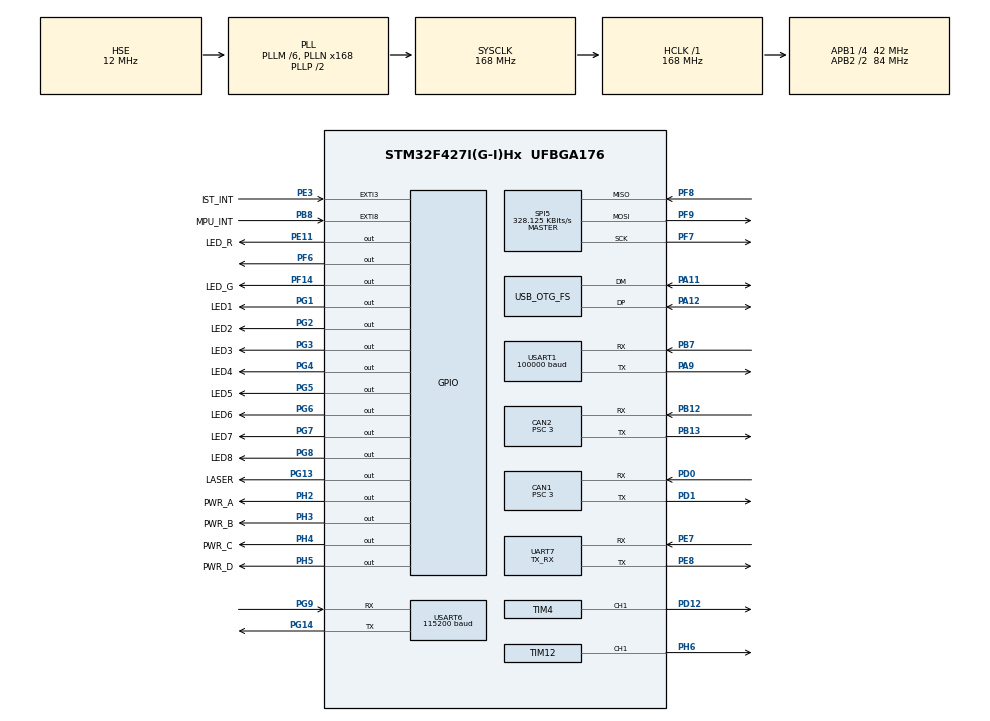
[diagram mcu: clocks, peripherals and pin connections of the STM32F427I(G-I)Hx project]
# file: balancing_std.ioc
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CAN1.ABOM=DISABLE
CAN1.BS1=CAN_BS1_9TQ
CAN1.BS2=CAN_BS2_4TQ
CAN1.CalculateBaudRate=1000000
CAN1.CalculateTimeBit=1000
CAN1.CalculateTimeQuantum=71.42857142857143
CAN1.NART=DISABLE
CAN1.Prescaler=3
CAN2.BS1=CAN_BS1_9TQ
CAN2.BS2=CAN_BS2_4TQ
CAN2.CalculateBaudRate=1000000
CAN2.CalculateTimeBit=1000
CAN2.CalculateTimeQuantum=71.42857142857143
CAN2.Prescaler=3
Dma.Request0=USART1_RX
Dma.Request1=USART6_RX
Dma.Request2=UART7_RX
Dma.Request3=SPI5_RX
Dma.Request4=SPI5_TX
Dma.SPI5_RX.3.Direction=DMA_PERIPH_TO_MEMORY
Dma.SPI5_RX.3.FIFOMode=DMA_FIFOMODE_ENABLE
Dma.SPI5_RX.3.FIFOThreshold=DMA_FIFO_THRESHOLD_FULL
Dma.SPI5_RX.3.Instance=DMA2_Stream3
Dma.SPI5_RX.3.MemBurst=DMA_MBURST_SINGLE
Dma.SPI5_RX.3.MemDataAlignment=DMA_MDATAALIGN_BYTE
Dma.SPI5_RX.3.MemInc=DMA_MINC_ENABLE
Dma.SPI5_RX.3.Mode=DMA_NORMAL
Dma.SPI5_RX.3.PeriphBurst=DMA_PBURST_SINGLE
Dma.SPI5_RX.3.PeriphDataAlignment=DMA_PDATAALIGN_BYTE
Dma.SPI5_RX.3.PeriphInc=DMA_PINC_DISABLE
Dma.SPI5_RX.3.Priority=DMA_PRIORITY_VERY_HIGH
Dma.SPI5_TX.4.Direction=DMA_MEMORY_TO_PERIPH
Dma.SPI5_TX.4.FIFOMode=DMA_FIFOMODE_DISABLE
Dma.SPI5_TX.4.Instance=DMA2_Stream4
Dma.SPI5_TX.4.MemDataAlignment=DMA_MDATAALIGN_BYTE
Dma.SPI5_TX.4.MemInc=DMA_MINC_ENABLE
Dma.SPI5_TX.4.Mode=DMA_NORMAL
Dma.SPI5_TX.4.PeriphDataAlignment=DMA_PDATAALIGN_BYTE
Dma.SPI5_TX.4.PeriphInc=DMA_PINC_DISABLE
Dma.SPI5_TX.4.Priority=DMA_PRIORITY_VERY_HIGH
Dma.UART7_RX.2.Direction=DMA_PERIPH_TO_MEMORY
Dma.UART7_RX.2.FIFOMode=DMA_FIFOMODE_DISABLE
Dma.UART7_RX.2.Instance=DMA1_Stream3
Dma.UART7_RX.2.MemDataAlignment=DMA_MDATAALIGN_BYTE
Dma.UART7_RX.2.MemInc=DMA_MINC_ENABLE
Dma.UART7_RX.2.Mode=DMA_CIRCULAR
Dma.UART7_RX.2.PeriphDataAlignment=DMA_PDATAALIGN_BYTE
Dma.UART7_RX.2.PeriphInc=DMA_PINC_DISABLE
Dma.UART7_RX.2.Priority=DMA_PRIORITY_LOW
Dma.USART1_RX.0.Direction=DMA_PERIPH_TO_MEMORY
Dma.USART1_RX.0.FIFOMode=DMA_FIFOMODE_DISABLE
Dma.USART1_RX.0.Instance=DMA2_Stream2
Dma.USART1_RX.0.MemDataAlignment=DMA_MDATAALIGN_BYTE
Dma.USART1_RX.0.MemInc=DMA_MINC_ENABLE
Dma.USART1_RX.0.Mode=DMA_CIRCULAR
Dma.USART1_RX.0.PeriphDataAlignment=DMA_PDATAALIGN_BYTE
Dma.USART1_RX.0.PeriphInc=DMA_PINC_DISABLE
Dma.USART1_RX.0.Priority=DMA_PRIORITY_LOW
Dma.USART6_RX.1.Direction=DMA_PERIPH_TO_MEMORY
Dma.USART6_RX.1.FIFOMode=DMA_FIFOMODE_DISABLE
Dma.USART6_RX.1.Instance=DMA2_Stream1
Dma.USART6_RX.1.MemDataAlignment=DMA_MDATAALIGN_BYTE
Dma.USART6_RX.1.MemInc=DMA_MINC_ENABLE
Dma.USART6_RX.1.Mode=DMA_CIRCULAR
Dma.USART6_RX.1.PeriphDataAlignment=DMA_PDATAALIGN_BYTE
Dma.USART6_RX.1.PeriphInc=DMA_PINC_DISABLE
Dma.USART6_RX.1.Priority=DMA_PRIORITY_LOW
FATFS._FS_NORTC=1
FATFS._NORTC_MDAY=3
FATFS._NORTC_MON=8
FATFS._NORTC_YEAR=2021
FREERTOS.INCLUDE_vTaskDelayUntil=1
FREERTOS.INCLUDE_xEventGroupSetBitFromISR=1
FREERTOS.INCLUDE_xTaskGetHandle=1
FREERTOS.INCLUDE_xTimerPendFunctionCall=1
FREERTOS.Tasks01=defaultTask,0,128,StartDefaultTask,Default,NULL,Dynamic,NULL,NULL
FREERTOS.configGENERATE_RUN_TIME_STATS=1
FREERTOS.configUSE_CO_ROUTINES=1
FREERTOS.configUSE_NEWLIB_REENTRANT=1
FREERTOS.configUSE_TIMERS=1
Mcu.Family=STM32F4
Mcu.Name=STM32F427I(G-I)Hx
Mcu.Package=UFBGA176
NVIC.CAN1_RX0_IRQn=true\:5\:0\:true\:false\:true\:true\:true\:true
NVIC.CAN2_RX0_IRQn=true\:5\:0\:false\:false\:true\:true\:true\:true
NVIC.CAN2_RX1_IRQn=true\:5\:0\:false\:false\:true\:true\:true\:true
NVIC.DMA1_Stream3_IRQn=true\:5\:0\:false\:false\:true\:true\:false\:true
NVIC.DMA2_Stream1_IRQn=true\:5\:0\:true\:false\:true\:false\:false\:true
NVIC.DMA2_Stream2_IRQn=true\:5\:0\:true\:false\:true\:false\:false\:true
NVIC.DMA2_Stream3_IRQn=true\:5\:0\:false\:false\:true\:true\:false\:true
NVIC.DMA2_Stream4_IRQn=true\:5\:0\:false\:false\:true\:true\:false\:true
NVIC.EXTI3_IRQn=true\:5\:0\:true\:false\:true\:true\:true\:true
NVIC.EXTI9_5_IRQn=true\:5\:0\:true\:false\:true\:true\:true\:true
NVIC.OTG_FS_IRQn=true\:5\:0\:false\:false\:true\:true\:false\:true
NVIC.PriorityGroup=NVIC_PRIORITYGROUP_4
NVIC.SPI5_IRQn=true\:5\:0\:true\:false\:true\:false\:true\:true
NVIC.TIM1_UP_TIM10_IRQn=true\:5\:0\:false\:false\:true\:true\:true\:true
NVIC.TIM3_IRQn=true\:0\:0\:false\:false\:true\:false\:false\:true
NVIC.TimeBase=TIM3_IRQn
NVIC.TimeBaseIP=TIM3
NVIC.UART7_IRQn=true\:5\:0\:true\:false\:true\:true\:true\:true
NVIC.USART1_IRQn=true\:5\:0\:false\:false\:true\:true\:true\:true
NVIC.USART6_IRQn=true\:5\:0\:true\:false\:true\:true\:true\:true
PA11.Mode=Device_Only
PA11.Signal=USB_OTG_FS_DM
PA12.Mode=Device_Only
PA12.Signal=USB_OTG_FS_DP
PA13.Mode=Serial_Wire
PA13.Signal=SYS_JTMS-SWDIO
PA14.Mode=Serial_Wire
PA14.Signal=SYS_JTCK-SWCLK
PA7.Signal=SPI1_MOSI
PA9.Mode=Asynchronous
PA9.Signal=USART1_TX
PB12.Mode=CAN_Activate
PB12.Signal=CAN2_RX
PB13.Mode=CAN_Activate
PB13.Signal=CAN2_TX
PB7.Mode=Asynchronous
PB7.Signal=USART1_RX
PB8.GPIO_Label=MPU_INT
PB8.GPIO_PuPd=GPIO_PULLDOWN
PB8.Signal=GPXTI8
PD0.Mode=CAN_Activate
PD0.Signal=CAN1_RX
PD1.Mode=CAN_Activate
PD1.Signal=CAN1_TX
PD12.Signal=S_TIM4_CH1
PE11.GPIO_Label=LED_R
PE11.Signal=GPIO_Output
PE3.GPIO_Label=IST_INT
PE3.GPIO_PuPd=GPIO_PULLDOWN
PE3.Signal=GPXTI3
PE7.Mode=Asynchronous
PE7.Signal=UART7_RX
PE8.Mode=Asynchronous
PE8.Signal=UART7_TX
PF14.GPIO_Label=LED_G
PF14.Signal=GPIO_Output
PF6.GPIO_PuPd=GPIO_PULLDOWN
PF6.GPIO_Speed=GPIO_SPEED_FREQ_MEDIUM
PF6.PinState=GPIO_PIN_SET
PF6.Signal=GPIO_Output
PF7.Mode=Full_Duplex_Master
PF7.Signal=SPI5_SCK
PF8.Mode=Full_Duplex_Master
PF8.Signal=SPI5_MISO
PF9.Mode=Full_Duplex_Master
PF9.Signal=SPI5_MOSI
PG1.GPIO_Label=LED1
PG1.GPIO_ModeDefaultOutputPP=GPIO_MODE_OUTPUT_PP
PG1.GPIO_Speed=GPIO_SPEED_FREQ_VERY_HIGH
PG1.PinState=GPIO_PIN_SET
PG1.Signal=GPIO_Output
PG13.GPIO_Label=LASER
PG13.GPIO_ModeDefaultOutputPP=GPIO_MODE_OUTPUT_PP
PG13.PinState=GPIO_PIN_RESET
PG13.Signal=GPIO_Output
PG14.Mode=Asynchronous
PG14.Signal=USART6_TX
PG2.GPIO_Label=LED2
PG2.GPIO_ModeDefaultOutputPP=GPIO_MODE_OUTPUT_PP
PG2.GPIO_Speed=GPIO_SPEED_FREQ_VERY_HIGH
PG2.PinState=GPIO_PIN_SET
PG2.Signal=GPIO_Output
PG3.GPIO_Label=LED3
PG3.GPIO_ModeDefaultOutputPP=GPIO_MODE_OUTPUT_PP
PG3.GPIO_Speed=GPIO_SPEED_FREQ_VERY_HIGH
PG3.PinState=GPIO_PIN_SET
PG3.Signal=GPIO_Output
PG4.GPIO_Label=LED4
PG4.GPIO_ModeDefaultOutputPP=GPIO_MODE_OUTPUT_PP
PG4.GPIO_Speed=GPIO_SPEED_FREQ_VERY_HIGH
PG4.PinState=GPIO_PIN_SET
PG4.Signal=GPIO_Output
PG5.GPIO_Label=LED5
PG5.GPIO_ModeDefaultOutputPP=GPIO_MODE_OUTPUT_PP
PG5.GPIO_Speed=GPIO_SPEED_FREQ_VERY_HIGH
PG5.PinState=GPIO_PIN_SET
PG5.Signal=GPIO_Output
PG6.GPIO_Label=LED6
PG6.GPIO_ModeDefaultOutputPP=GPIO_MODE_OUTPUT_PP
PG6.GPIO_Speed=GPIO_SPEED_FREQ_VERY_HIGH
PG6.PinState=GPIO_PIN_SET
PG6.Signal=GPIO_Output
PG7.GPIO_Label=LED7
PG7.GPIO_ModeDefaultOutputPP=GPIO_MODE_OUTPUT_PP
PG7.GPIO_Speed=GPIO_SPEED_FREQ_VERY_HIGH
PG7.PinState=GPIO_PIN_SET
PG7.Signal=GPIO_Output
PG8.GPIO_Label=LED8
PG8.GPIO_ModeDefaultOutputPP=GPIO_MODE_OUTPUT_PP
PG8.GPIO_Speed=GPIO_SPEED_FREQ_VERY_HIGH
PG8.PinState=GPIO_PIN_SET
PG8.Signal=GPIO_Output
PG9.Mode=Asynchronous
PG9.Signal=USART6_RX
PH0/OSC_IN.Mode=HSE-External-Oscillator
PH0/OSC_IN.Signal=RCC_OSC_IN
PH1/OSC_OUT.Mode=HSE-External-Oscillator
PH1/OSC_OUT.Signal=RCC_OSC_OUT
PH2.GPIO_Label=PWR_A
PH2.GPIO_PuPd=GPIO_PULLUP
PH2.PinState=GPIO_PIN_SET
PH2.Signal=GPIO_Output
PH3.GPIO_Label=PWR_B
PH3.GPIO_PuPd=GPIO_PULLUP
PH3.PinState=GPIO_PIN_SET
PH3.Signal=GPIO_Output
PH4.GPIO_Label=PWR_C
PH4.GPIO_PuPd=GPIO_PULLUP
PH4.PinState=GPIO_PIN_SET
PH4.Signal=GPIO_Output
PH5.GPIO_Label=PWR_D
PH5.GPIO_PuPd=GPIO_PULLUP
PH5.PinState=GPIO_PIN_SET
PH5.Signal=GPIO_Output
PH6.Signal=S_TIM12_CH1
ProjectManager.HeapSize=0x200
ProjectManager.StackSize=0x400
ProjectManager.TargetToolchain=STM32CubeIDE
RCC.48MHZClocksFreq_Value=48000000
RCC.AHBFreq_Value=168000000
RCC.APB1CLKDivider=RCC_HCLK_DIV4
RCC.APB1Freq_Value=42000000
RCC.APB1TimFreq_Value=84000000
RCC.APB2CLKDivider=RCC_HCLK_DIV2
RCC.APB2Freq_Value=84000000
RCC.APB2TimFreq_Value=168000000
RCC.CortexFreq_Value=168000000
RCC.HCLKFreq_Value=168000000
RCC.HSE_VALUE=12000000
RCC.HSI_VALUE=16000000
RCC.LSE_VALUE=32768
RCC.PLLM=6
RCC.PLLN=168
RCC.PLLQ=7
RCC.SYSCLKFreq_VALUE=168000000
RCC.SYSCLKSource=RCC_SYSCLKSOURCE_PLLCLK
RCC.VCOOutputFreq_Value=336000000
SH.S_TIM12_CH1.0=TIM12_CH1,PWM Generation1 CH1
SH.S_TIM4_CH1.0=TIM4_CH1,PWM Generation1 CH1
SPI5.BaudRatePrescaler=SPI_BAUDRATEPRESCALER_256
SPI5.CLKPhase=SPI_PHASE_2EDGE
SPI5.CLKPolarity=SPI_POLARITY_HIGH
SPI5.CalculateBaudRate=328.125 KBits/s
SPI5.Direction=SPI_DIRECTION_2LINES
SPI5.FirstBit=SPI_FIRSTBIT_MSB
SPI5.Mode=SPI_MODE_MASTER
SPI5.VirtualType=VM_MASTER
TIM1.Channel-Output\ Compare1\ No\ Output=TIM_CHANNEL_1
TIM1.Period=1
TIM1.Prescaler=168-1
TIM12.Channel-PWM\ Generation1\ CH1=TIM_CHANNEL_1
TIM12.Period=1000
TIM12.Prescaler=84
TIM4.Channel-PWM\ Generation1\ CH1=TIM_CHANNEL_1
TIM4.Period=1000
TIM4.Prescaler=84
TIM5.Channel-PWM\ Generation1\ No\ Output=TIM_CHANNEL_1
TIM8.Channel-Output\ Compare1\ No\ Output=TIM_CHANNEL_1
UART7.Mode=MODE_TX_RX
UART7.VirtualMode=Asynchronous
USART1.BaudRate=100000
USART1.Mode=MODE_RX
USART1.Parity=PARITY_EVEN
USART1.VirtualMode=VM_ASYNC
USART1.WordLength=WORDLENGTH_9B
USART6.BaudRate=115200
USART6.Mode=MODE_RX
USART6.VirtualMode=VM_ASYNC
USB_DEVICE.CLASS_NAME_FS=CDC
USB_DEVICE.VirtualMode-CDC_FS=Cdc
USB_DEVICE.VirtualModeFS=Cdc_FS
USB_OTG_FS.VirtualMode=Device_Only
VP_FATFS_VS_Generic.Mode=User_defined
VP_FREERTOS_VS_CMSIS_V1.Mode=CMSIS_V1
VP_SYS_VS_tim3.Mode=TIM3
VP_TIM12_VS_ClockSourceINT.Mode=Internal
VP_TIM1_VS_no_output1.Mode=Output Compare1 No Output
VP_TIM5_VS_no_output1.Mode=PWM Generation1 No Output
VP_TIM8_VS_no_output1.Mode=Output Compare1 No Output
VP_USB_DEVICE_VS_USB_DEVICE_CDC_FS.Mode=CDC_FS
board=custom

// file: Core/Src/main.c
/* USER CODE BEGIN Header */
/**
  ******************************************************************************
  * @file           : main.c
  * @brief          : Main program body
  ******************************************************************************
  * @attention
  *
  * <h2><center>&copy; Copyright (c) 2021 STMicroelectronics.
  * All rights reserved.</center></h2>
  *
  * This software component is licensed by ST under Ultimate Liberty license
  * SLA0044, the "License"; You may not use this file except in compliance with
  * the License. You may obtain a copy of the License at:
  *                             www.st.com/SLA0044
  *
  ******************************************************************************
  */
/* USER CODE END Header */
#include "main.h"
#include "cmsis_os.h"
#include "can.h"
#include "dma.h"
#include "fatfs.h"
#include "spi.h"
#include "tim.h"
#include "usart.h"
#include "usb_device.h"
#include "gpio.h"

/* USER CODE BEGIN Includes */
#include "board_lib.h"
#include "startup_task.h"
/* USER CODE END Includes */

void SystemClock_Config(void);
void MX_FREERTOS_Init(void);

int main(void)
{

  /* MCU Configuration--------------------------------------------------------*/

  /* Reset of all peripherals, Initializes the Flash interface and the Systick. */
  HAL_Init();

  /* Configure the system clock */
  SystemClock_Config();

  /* Initialize all configured peripherals */
  MX_GPIO_Init();
  MX_DMA_Init();
  MX_USART1_UART_Init();
  MX_CAN1_Init();
  MX_USART6_UART_Init();
  MX_SPI5_Init();
  MX_TIM12_Init();
  MX_CAN2_Init();
  MX_TIM4_Init();
  MX_UART7_Init();
  MX_FATFS_Init();
  MX_TIM5_Init();
  MX_TIM8_Init();
  MX_TIM1_Init();
  /* USER CODE BEGIN 2 */

  startup_task();
  /* USER CODE END 2 */

  /* Call init function for freertos objects (in freertos.c) */
  MX_FREERTOS_Init();
  /* Start scheduler */
  osKernelStart();

  /* We should never get here as control is now taken by the scheduler */
  /* Infinite loop */
  while (1)
  {

  }
}

void SystemClock_Config(void)
{
  RCC_OscInitTypeDef RCC_OscInitStruct = {0};
  RCC_ClkInitTypeDef RCC_ClkInitStruct = {0};

  /** Configure the main internal regulator output voltage
  */
  __HAL_RCC_PWR_CLK_ENABLE();
  __HAL_PWR_VOLTAGESCALING_CONFIG(PWR_REGULATOR_VOLTAGE_SCALE1);
  /** Initializes the RCC Oscillators according to the specified parameters
  * in the RCC_OscInitTypeDef structure.
  */
  RCC_OscInitStruct.OscillatorType = RCC_OSCILLATORTYPE_HSE;
  RCC_OscInitStruct.HSEState = RCC_HSE_ON;
  RCC_OscInitStruct.PLL.PLLState = RCC_PLL_ON;
  RCC_OscInitStruct.PLL.PLLSource = RCC_PLLSOURCE_HSE;
  RCC_OscInitStruct.PLL.PLLM = 6;
  RCC_OscInitStruct.PLL.PLLN = 168;
  RCC_OscInitStruct.PLL.PLLP = RCC_PLLP_DIV2;
  RCC_OscInitStruct.PLL.PLLQ = 7;
  if (HAL_RCC_OscConfig(&RCC_OscInitStruct) != HAL_OK)
  {
    Error_Handler();
  }
  /** Initializes the CPU, AHB and APB buses clocks
  */
  RCC_ClkInitStruct.ClockType = RCC_CLOCKTYPE_HCLK|RCC_CLOCKTYPE_SYSCLK
                              |RCC_CLOCKTYPE_PCLK1|RCC_CLOCKTYPE_PCLK2;
  RCC_ClkInitStruct.SYSCLKSource = RCC_SYSCLKSOURCE_PLLCLK;
  RCC_ClkInitStruct.AHBCLKDivider = RCC_SYSCLK_DIV1;
  RCC_ClkInitStruct.APB1CLKDivider = RCC_HCLK_DIV4;
  RCC_ClkInitStruct.APB2CLKDivider = RCC_HCLK_DIV2;

  if (HAL_RCC_ClockConfig(&RCC_ClkInitStruct, FLASH_LATENCY_5) != HAL_OK)
  {
    Error_Handler();
  }
}

void HAL_TIM_PeriodElapsedCallback(TIM_HandleTypeDef *htim)
{
  if (htim->Instance == TIM3) {
    HAL_IncTick();
  }
}

void Error_Handler(void)
{
  __disable_irq();
  while (1)
  {
  }
}

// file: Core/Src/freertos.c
/* USER CODE BEGIN Header */
/**
  ******************************************************************************
  * File Name          : freertos.c
  * Description        : Code for freertos applications
  ******************************************************************************
  * @attention
  *
  * <h2><center>&copy; Copyright (c) 2021 STMicroelectronics.
  * All rights reserved.</center></h2>
  *
  * This software component is licensed by ST under Ultimate Liberty license
  * SLA0044, the "License"; You may not use this file except in compliance with
  * the License. You may obtain a copy of the License at:
  *                             www.st.com/SLA0044
  *
  ******************************************************************************
  */
/* USER CODE END Header */

#include "FreeRTOS.h"
#include "task.h"
#include "main.h"
#include "cmsis_os.h"

/* USER CODE BEGIN Includes */

#include "board_lib.h"
#include "startup_task.h"
#include "movement_control_task.h"
#include "control_input_task.h"
#include "imu_processing_task.h"
#include "robot_config.h"
#include "buzzing_task.h"
#include "motor_config.h"
#include "motor_feedback_task.h"

/* USER CODE END Includes */

/* USER CODE BEGIN PD */
//FreeRTOS definitions
#define ISR_SEMAPHORE_COUNT 1
#define QUEUE_SIZE 1

/* USER CODE END PD */

/* USER CODE BEGIN Variables */

//Input control task definitions
TaskHandle_t gimbal_control_task_handle;
TaskHandle_t movement_control_task_handle;
TaskHandle_t referee_processing_task_handle;
TaskHandle_t control_input_task_handle;
TaskHandle_t launcher_control_task_handle;
TaskHandle_t buzzing_task_handle;
TaskHandle_t motor_calib_task_handle;
TaskHandle_t usb_task_handle;
TaskHandle_t imu_processing_task_handle;
TaskHandle_t motor_feedback_task_handle;

EventGroupHandle_t gimbal_event_group;
EventGroupHandle_t chassis_event_group;
EventGroupHandle_t launcher_event_group;

SemaphoreHandle_t usb_continue_semaphore;

QueueHandle_t gyro_data_queue;
QueueHandle_t accel_data_queue;
QueueHandle_t mag_data_queue;

QueueHandle_t telem_data_queue;
QueueHandle_t buzzing_task_msg;

/* USER CODE END Variables */
osThreadId defaultTaskHandle;

void StartDefaultTask(void const * argument);

extern void MX_USB_DEVICE_Init(void);
void MX_FREERTOS_Init(void); /* (MISRA C 2004 rule 8.1) */

/* GetIdleTaskMemory prototype (linked to static allocation support) */
void vApplicationGetIdleTaskMemory( StaticTask_t **ppxIdleTaskTCBBuffer, StackType_t **ppxIdleTaskStackBuffer, uint32_t *pulIdleTaskStackSize );

/* GetTimerTaskMemory prototype (linked to static allocation support) */
void vApplicationGetTimerTaskMemory( StaticTask_t **ppxTimerTaskTCBBuffer, StackType_t **ppxTimerTaskStackBuffer, uint32_t *pulTimerTaskStackSize );

/* Hook prototypes */
void configureTimerForRunTimeStats(void);
unsigned long getRunTimeCounterValue(void);

/* USER CODE BEGIN 1 */
/* Functions needed when configGENERATE_RUN_TIME_STATS is on */
__weak void configureTimerForRunTimeStats(void)
{

}

__weak unsigned long getRunTimeCounterValue(void)
{
return 0;
}
/* USER CODE END 1 */

/* USER CODE BEGIN GET_IDLE_TASK_MEMORY */
static StaticTask_t xIdleTaskTCBBuffer;
static StackType_t xIdleStack[configMINIMAL_STACK_SIZE];

void vApplicationGetIdleTaskMemory( StaticTask_t **ppxIdleTaskTCBBuffer, StackType_t **ppxIdleTaskStackBuffer, uint32_t *pulIdleTaskStackSize )
{
  *ppxIdleTaskTCBBuffer = &xIdleTaskTCBBuffer;
  *ppxIdleTaskStackBuffer = &xIdleStack[0];
  *pulIdleTaskStackSize = configMINIMAL_STACK_SIZE;
  /* place for user code */
}
/* USER CODE END GET_IDLE_TASK_MEMORY */

/* USER CODE BEGIN GET_TIMER_TASK_MEMORY */
static StaticTask_t xTimerTaskTCBBuffer;
static StackType_t xTimerStack[configTIMER_TASK_STACK_DEPTH];

void vApplicationGetTimerTaskMemory( StaticTask_t **ppxTimerTaskTCBBuffer, StackType_t **ppxTimerTaskStackBuffer, uint32_t *pulTimerTaskStackSize )
{
  *ppxTimerTaskTCBBuffer = &xTimerTaskTCBBuffer;
  *ppxTimerTaskStackBuffer = &xTimerStack[0];
  *pulTimerTaskStackSize = configTIMER_TASK_STACK_DEPTH;
  /* place for user code */
}
/* USER CODE END GET_TIMER_TASK_MEMORY */

void MX_FREERTOS_Init(void) {

  /* USER CODE BEGIN RTOS_SEMAPHORES */
  /* add semaphores, ... */
	gimbal_event_group = xEventGroupCreate();
	chassis_event_group = xEventGroupCreate();
	launcher_event_group = xEventGroupCreate();

	usb_continue_semaphore = xSemaphoreCreateBinary();

	//Controls when different task can execute

  /* USER CODE END RTOS_SEMAPHORES */

  /* USER CODE BEGIN RTOS_QUEUES */
  /* add queues, ... */
	gyro_data_queue = xQueueCreate(5, sizeof(gyro_data_t));
	accel_data_queue = xQueueCreate(5, sizeof(accel_data_t));
	mag_data_queue = xQueueCreate(5, sizeof(mag_data_t));
	//telem_data_queue = xQueueCreate(10, sizeof(telem_data_struct_t));
	buzzing_task_msg = xQueueCreate(5, sizeof(uint8_t));

  /* USER CODE END RTOS_QUEUES */

  /* Create the thread(s) */
  /* definition and creation of defaultTask */
  osThreadDef(defaultTask, StartDefaultTask, osPriorityNormal, 0, 128);
  defaultTaskHandle = osThreadCreate(osThread(defaultTask), NULL);

  /* USER CODE BEGIN RTOS_THREADS */
  /* add threads, ... */
  //todo: adjust priorities
  //Threads creation
  xTaskCreate(imu_processing_task		, "IMU_task" 		,
		  configMINIMAL_STACK_SIZE ,(void *) 1, (UBaseType_t)15, &imu_processing_task_handle);

  xTaskCreate(motor_calib_task			, "motor_calib_task" ,
		  configMINIMAL_STACK_SIZE ,(void *) 1, (UBaseType_t)9, &motor_calib_task_handle);

  if (chassis_event_group == NULL) {
 	  //error handler
   }
   else {
	   xTaskCreate(movement_control_task, "chassis_task" 	,
			   configMINIMAL_STACK_SIZE ,(void *) 1, (UBaseType_t)4, &movement_control_task_handle);
   }
  xTaskCreate(motor_feedback_task, "feedback_loop_task" 	,
  			   configMINIMAL_STACK_SIZE ,(void *) 1, (UBaseType_t)4, &motor_feedback_task_handle);

  xTaskCreate(control_input_task		, "RC_task" 		,
		  configMINIMAL_STACK_SIZE ,(void *) 1, (UBaseType_t)4, &control_input_task_handle);
  xTaskCreate(buzzing_task				, "buzzer_task" 	,
		  configMINIMAL_STACK_SIZE ,(void *) 1,(UBaseType_t) 1, &buzzing_task_handle);

  /* USER CODE END RTOS_THREADS */

}

void StartDefaultTask(void const * argument)
{
  /* init code for USB_DEVICE */
  MX_USB_DEVICE_Init();
  for(;;)
  {
    osDelay(1);
  }
}
